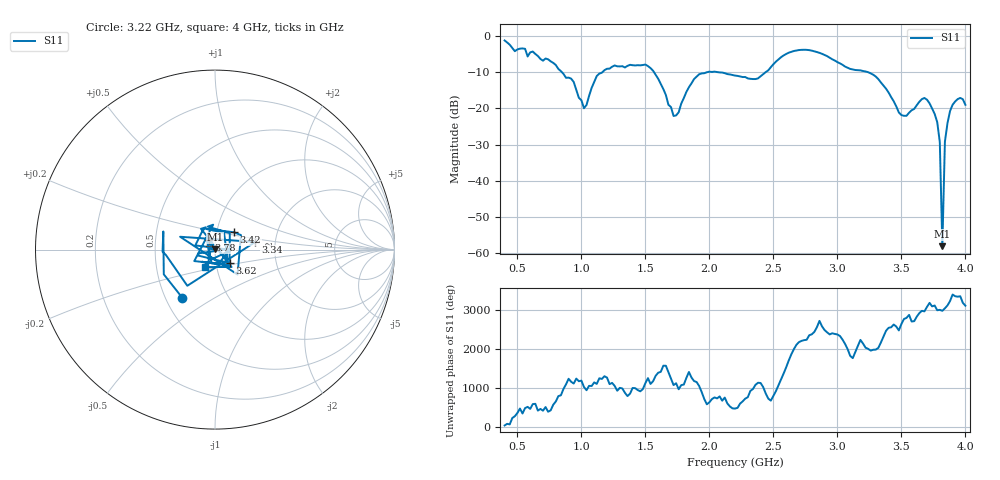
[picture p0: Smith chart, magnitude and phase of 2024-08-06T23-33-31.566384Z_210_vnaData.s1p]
!Created with skrf (http://scikit-rf.org).
# Hz S RI R 50.0
!freq ReS11 ImS11
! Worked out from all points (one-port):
!   181 points, 400 MHz to 4 GHz, reference 50 ohm
!   lowest |S11| = -58.1 dB at 3.82 GHz (marker M1), VSWR 1.00, Z = 50 + j0.117 ohm
!   |S11| at or under -10 dB: 1.568 GHz to 1.98 GHz (412.1 MHz wide, 23.2 % of centre); 2.071 GHz to 2.439 GHz (367.3 MHz wide, 16.3 % of centre); 3.241 GHz to end of sweep (the widest 3 of 4)
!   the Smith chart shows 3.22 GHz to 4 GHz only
!   S11 on the Smith chart (normalised r, x): 3.22 GHz: 0.61, -0.37; 3.34 GHz: 1.57, +0.14; 3.42 GHz: 1.21, +0.24; 3.62 GHz: 1.16, -0.18; 3.78 GHz: 0.93, +0.10; 4 GHz: 0.88, -0.17
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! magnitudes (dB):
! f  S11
! 400 MHz  -1.2
! 860 MHz  -10.5
! 940 MHz  -12.7
! 1.02 GHz  -20.0
! 1.12 GHz  -11.0
! 1.3 GHz  -8.4
! 1.52 GHz  -8.3
! 1.72 GHz  -22.1
! 1.76 GHz  -21.1
! 1.92 GHz  -10.6
! 2.2 GHz  -10.9
! 2.38 GHz  -11.7
! 2.66 GHz  -4.1
! 3.1 GHz  -9.1
! 3.22 GHz  -9.8
! 3.34 GHz  -12.8
! 3.42 GHz  -16.9
! 3.5 GHz  -21.9
! 3.56 GHz  -21.2
! 3.62 GHz  -19.1
! 3.7 GHz  -17.6
! 3.78 GHz  -23.8
! 3.8 GHz  -29.3
! 3.82 GHz  -58.1
! 3.84 GHz  -29.2
! 3.86 GHz  -24.1
! 3.92 GHz  -18.1
! 4 GHz  -19.0
